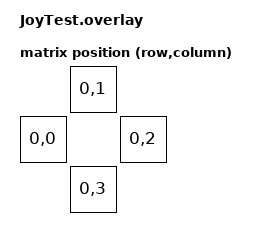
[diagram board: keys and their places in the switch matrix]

#include <dt-bindings/zmk/matrix_transform.h>
#include <physical_layouts.dtsi>

&adc {
    #io-channel-cells = <1>;
    #address-cells = <1>;
    #size-cells = <0>;
	status = "okay";

    channel@5 {
        reg = <5>;
        zephyr,input-positive = <NRF_SAADC_AIN5>;
        zephyr,gain = "ADC_GAIN_1_6";
        zephyr,reference = "ADC_REF_INTERNAL";
        zephyr,acquisition-time = <ADC_ACQ_TIME_DEFAULT>;
        zephyr,resolution = <12>;
        zephyr,oversampling = <0>;
    };

    channel@7 {
        reg = <7>;
        zephyr,input-positive = <NRF_SAADC_AIN7>;
        zephyr,gain = "ADC_GAIN_1_6";
        zephyr,reference = "ADC_REF_INTERNAL";
        zephyr,acquisition-time = <ADC_ACQ_TIME_DEFAULT>;
        zephyr,resolution = <12>;
        zephyr,oversampling = <0>;
    };
};

/ {
    chosen {
      zmk,physical-layout = &default_layout;
    };

    kscan0: kscan_composite {
        compatible = "zmk,kscan-composite";
        rows = <1>;
        columns = <4>;

        direct_one {
            kscan = <&kscan1>;
            row-offset = <0>; // ...and shift it to not overlap
        };

    };

    kscan1: kscan_joystick {
        compatible = "zmk,kscan-joystick";
        poll-period-ms = <4>;  /* 250Hz */
        idle-period-ms = <50>; /* 20Hz */
        angle-overlap = <30>;
        /* do not use a second threshold with bad quality joysticks */
        /* thresholds = [0A 78]; */
        status = "okay";
        wakeup-source;
        io-channels = <&adc 5>, <&adc 7>;
        io-channel-names = "x-axis", "y-axis";
    };


    default_transform: matrix_transform {
        compatible = "zmk,matrix-transform";
        rows = <1>;
        columns = <4>;
        // ┌───┬───┐
        // │ 1 │ 2 │ 
        // ├───┼───│
        // │ 3 │ 4 │ 
        // └───────┘
        map = <
            RC(0,0) RC(0,1) RC(0,2) RC(0,3)
        >;
    };

    
    default_layout: physical_layout0 {
        compatible = "zmk,physical-layout";
        display-name = "Default";

        transform = <&default_transform>;
        kscan = <&kscan0>;

        keys  //                     w   h    x    y     rot    rx    ry
            = <&key_physical_attrs 100 100    0  100       0     0     0>
            , <&key_physical_attrs 100 100  100    0       0     0     0>
            , <&key_physical_attrs 100 100  200  100       0     0     0>
            , <&key_physical_attrs 100 100  100  200       0     0     0>
            ;
    };

   
};

